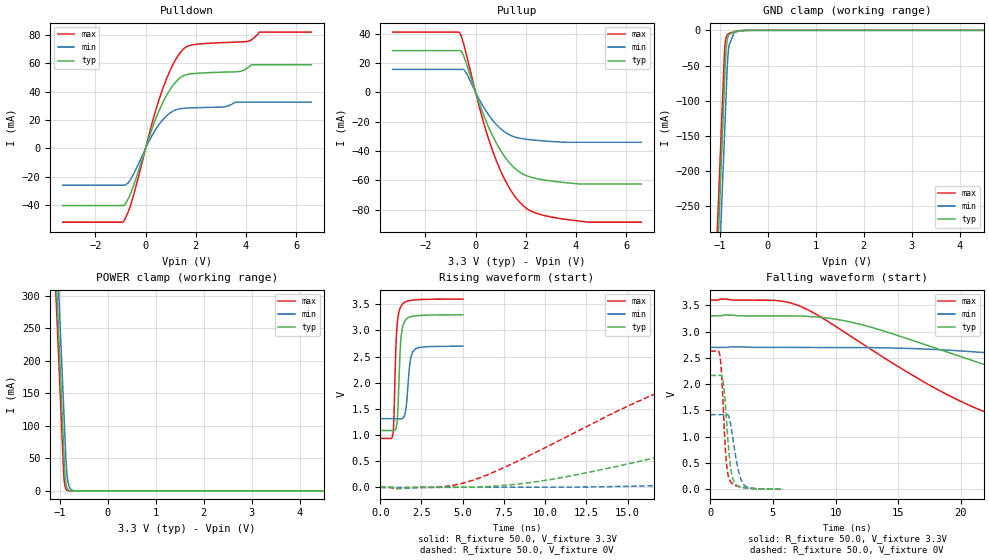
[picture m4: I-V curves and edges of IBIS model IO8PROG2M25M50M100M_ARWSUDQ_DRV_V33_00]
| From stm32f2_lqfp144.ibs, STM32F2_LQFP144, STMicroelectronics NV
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| *** New cell (Generated with 5.14beta1 (Sep 20 2010 13:23:23))
[Model]   IO8PROG2M25M50M100M_ARWSUDQ_DRV_V33_00
Model_type 3-state
Polarity   Non-Inverting
Enable   Active-Low
| CAP_THRESHOLD on pad IOV33 is "CMOS" :
| Rising=10.0% of vddio   Falling=90.0% of vddio
| C_comp min and max val. don't necessarily correlate with the min and max pvt
| but are the smallest and greatest pad capacitance found.
| var   typ   min   max
C_comp   2.45675pF  2.35635pF  2.58870pF
Vmeas = 1.65V   | Reference voltage for timing measurements
Cref  = 50.0pF   | Timing specification test load capacitance value
Rref  = 1.0MOhm   | Timing specification test load resistance value
Vref  = 1.65V   | Timing specification test load voltage
[Model Spec]
| variable   typ   min   max
[Temperature Range] 25.0 125.0 -40.0
| variable   typ   min   max
[Voltage Range] 3.3V 2.7V 3.6V
| variable   typ   min   max
[POWER Clamp Reference] 3.3V 2.7V 3.6V
| variable   typ   min   max
[GND Clamp Reference] 0V 0V 0V
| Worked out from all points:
|   slope of the pulldown table from 0 to 0.495 V, typ, clamps not added: 20 ohm
|   slope of the pullup table from 0 to 0.495 V, typ, clamps not added: 21.7 ohm
|   GND clamp passes 1 mA (typ) near -0.62 V on its own axis
|   POWER clamp passes 1 mA (typ) near -0.81 V on its own axis
|   rising waveform, R_fixture 50.0, V_fixture 3.3V: 20-80 % time 185ps typ, 231ps min, 171ps max; typ from 1.09 V to 3.3 V
|   falling waveform, R_fixture 50.0, V_fixture 3.3V: 20-80 % time 18.1ns typ, 35.4ns min, 11.7ns max; typ from 3.3 V to 1.09 V
|   rising waveform, R_fixture 50.0, V_fixture 0V: 20-80 % time 19.4ns typ, 43.5ns min, 10.8ns max; typ from 0 V to 2.17 V
|   falling waveform, R_fixture 50.0, V_fixture 0V: 20-80 % time 440ps typ, 626ps min, 353ps max; typ from 2.17 V to 0.001 V
[POWER Clamp]
-3.3V     4.11A      4.173A     4.072A
-1.09V    352.6mA    415.9mA    314.7mA
-1.05V    284.6mA    347.9mA    246.7mA
-1.01V    216.6mA    279.9mA    178.7mA
-920mV    63.6mA     126.9mA    25.98mA
-900mV    31.61mA    92.95mA    9.679mA
-890mV    21.44mA    75.95mA    5.93mA
-870mV    9.888mA    44.06mA    2.262mA
-840mV    3.126mA    18.4mA     586.7uA
-780mV    356.4uA    3.233mA    107.9uA
-660mV    37.87uA    120.8uA    47.09uA
6.6V      0A         0A         0A
[GND Clamp]
-3.3V     -4.149A    -4.224A    -4.103A
-1.06V    -340.8mA   -415.7mA   -294.7mA
-940mV    -136.8mA   -211.7mA   -90.7mA
-910mV    -85.75mA   -160.7mA   -39.7mA
-900mV    -68.75mA   -143.7mA   -26.69mA
-880mV    -36.92mA   -109.7mA   -13.58mA
-860mV    -19.7mA    -75.66mA   -8.314mA
-840mV    -11.43mA   -45.13mA   -6.003mA
-810mV    -6.09mA    -21.34mA   -4.418mA
-700mV    -1.961mA   -2.954mA   -1.882mA
-470mV    -105.5uA   -264uA     -47.31uA
6.6V      9.775nA    1.217uA    66.58pA
| variable   typ   min   max
[Pullup Reference] 3.3V 2.7V 3.6V
| variable   typ   min   max
[Pulldown Reference] 0V 0V 0V
[Pullup]
-3.3V     28.36mA    15.6mA     41mA
-640mV    28.36mA    15.6mA     40.72mA
-480mV    25.11mA    15.6mA     33.22mA
-350mV    18.69mA    12.64mA    24.51mA
240mV     -11.89mA   -7.822mA   -15.87mA
710mV     -30.8mA    -19.68mA   -41.36mA
1.3V      -47.02mA   -28.56mA   -63.9mA
1.65V     -53.05mA   -30.92mA   -72.82mA
2.01V     -56.71mA   -31.98mA   -78.86mA
2.7V      -59.67mA   -33.14mA   -83.8mA
3.9V      -62.11mA   -34.07mA   -87.29mA
6.6V      -62.54mA   -34.07mA   -88.51mA
[Pulldown]
-3.3V     -40.26mA   -25.94mA   -51.99mA
-870mV    -40.25mA   -25.94mA   -51.33mA
-700mV    -35.92mA   -24.51mA   -45.06mA
-470mV    -25.89mA   -17.87mA   -32.39mA
240mV     12.97mA    8.52mA     16.62mA
590mV     28.62mA    18.11mA    37.2mA
1.07V     43.85mA    26mA       58.31mA
1.54V     51.42mA    28.24mA    70.48mA
2.01V     52.82mA    28.63mA    73.27mA
4.01V     56.01mA    32.56mA    75.18mA
4.53V     58.9mA     32.56mA    81.88mA
6.6V      58.9mA     32.56mA    81.88mA
[Ramp]
dV/dt_r 1.29886V/19.37199ns 851.11478mV/43.54975ns 1.57728V/10.77558ns
dV/dt_f 1.3278V/18.12878ns 831.28378mV/35.4375ns 1.59819V/11.72348ns
R_load = 50.0
| Removed startup time: 0s 0s 0s  .
| Removed end time: 5.008ns.
[Rising Waveform]
R_fixture   = 50.0
V_fixture   = 3.3V
V_fixture_min = 2.7V
V_fixture_max = 3.6V
0s        1.087V     1.314V     936.3mV
766ps     1.084V     1.314V     1.017V
822ps     1.083V     1.314V     1.278V
930ps     1.112V     1.314V     2.526V
996ps     1.191V     1.313V     2.994V
1.27ns    2.891V     1.309V     3.469V
1.534ns   3.2V       1.456V     3.547V
1.796ns   3.257V     2.366V     3.571V
2.038ns   3.274V     2.62V      3.581V
5.012ns   3.299V     2.699V     3.599V
| Removed startup time: 0s 0s 0s  .
| Removed end time: 251.88ns.
[Falling Waveform]
R_fixture   = 50.0
V_fixture   = 3.3V
V_fixture_min = 2.7V
V_fixture_max = 3.6V
0s        3.3V       2.7V       3.6V
6.4ns     3.3V       2.7V       3.547V
11.32ns   3.177V     2.7V       2.895V
17.88ns   2.695V     2.661V     1.93V
22.92ns   2.29V      2.58V      1.382V
32.68ns   1.595V     2.336V     1.054V
45.92ns   1.243V     1.97V      977.3mV
62.52ns   1.147V     1.622V     949.9mV
84ns      1.108V     1.447V     940.2mV
252ns     1.087V     1.315V     936.3mV
| Removed startup time: 0s 0s 0s  .
| Removed end time: 245.56ns.
[Rising Waveform]
R_fixture   = 50.0
V_fixture   = 0V
V_fixture_min = 0V
V_fixture_max = 0V
0s        11.71nV    319.5nV    8.591nV
5.8ns     6.644mV    -108.8uV   156.1mV
10.88ns   179.7mV    2.899mV    898.4mV
20.64ns   860.4mV    75.04mV    2.232V
31.44ns   1.588V     263.7mV    2.551V
37.92ns   1.874V     402.2mV    2.594V
48.24ns   2.049V     638.3mV    2.618V
71.4ns    2.143V     1.075V     2.628V
94.6ns    2.16V      1.293V     2.629V
245.6ns   2.165V     1.419V     2.629V
| Removed startup time: 0s 0s 0s  .
| Removed end time: 5.796ns.
[Falling Waveform]
R_fixture   = 50.0
V_fixture   = 0V
V_fixture_min = 0V
V_fixture_max = 0V
0s        2.165V     1.419V     2.629V
776ps     2.171V     1.418V     2.535V
938ps     2.142V     1.419V     2.053V
1.026ns   2.046V     1.42V      1.597V
1.26ns    1.422V     1.428V     575.5mV
1.574ns   503.8mV    1.3V       163.5mV
1.898ns   138.5mV    807.8mV    82.58mV
2.274ns   56.03mV    328mV      48.4mV
2.648ns   31.22mV    93.54mV    31.48mV
5.8ns     912.7uV    851.9uV    948.6uV
